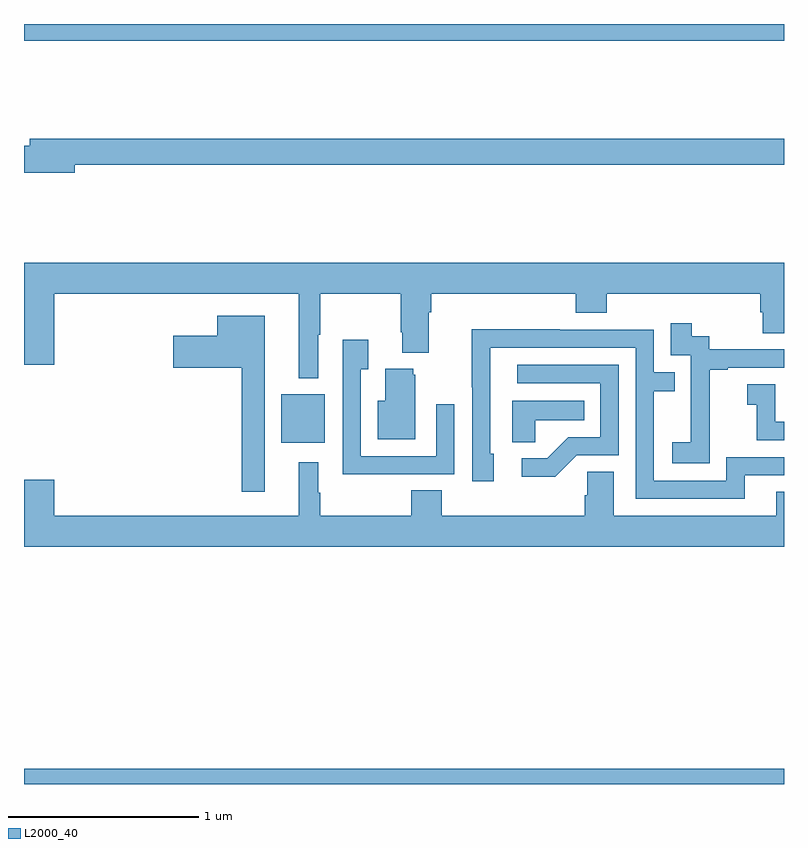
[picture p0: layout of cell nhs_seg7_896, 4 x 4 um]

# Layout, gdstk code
import gdstk
lib = gdstk.Library(unit=1e-6, precision=1e-09)
def R(c, l, rs):  # rectangles x0, y0, x1, y1
    for r in rs: c.add(gdstk.rectangle(r[:2], r[2:], *l))
def P(c, l, *ps):  # polygons
    for p in ps: c.add(gdstk.Polygon(p, *l))
L2000_40 = (2000, 40)

nhs_seg7_896 = lib.new_cell('nhs_seg7_896')
R(nhs_seg7_896, L2000_40, [(177,1034,181,1034.08), (178.355,1035.797,178.582,1036.051), (177,1037.912,181,1038)])
P(nhs_seg7_896, L2000_40, [(177.268,1037.26),(181,1037.26),(181,1037.396),(177.029,1037.396),(177.029,1037.36),(177,1037.36),(177,1037.218),(177.268,1037.218)],
  [(178.549,1036.364),(178.559,1036.364),(178.559,1036.58),(178.984,1036.58),(178.984,1036.378),(178.991,1036.378),(178.991,1036.271),(179.131,1036.271),(179.131,1036.484),(179.144,1036.484),(179.144,1036.58),(179.903,1036.58),(179.903,1036.481),(180.068,1036.481),(180.068,1036.58),(180.875,1036.58),(180.875,1036.482),(180.887,1036.482),(180.887,1036.372),(181,1036.372),(181,1036.744),(177,1036.744),(177,1036.206),(177.16,1036.206),(177.16,1036.58),(178.445,1036.58),(178.445,1036.136),(178.549,1036.136)],
  [(178.267,1036.465),(178.016,1036.465),(178.016,1036.36),(177.786,1036.36),(177.786,1036.19),(178.146,1036.19),(178.146,1035.537),(178.267,1035.537)],
  [(180.609,1035.895),(180.608,1035.895),(180.608,1036.179),(180.703,1036.179),(180.703,1036.191),(181,1036.191),(181,1036.287),(180.606,1036.287),(180.606,1036.356),(180.514,1036.356),(180.514,1036.426),(180.405,1036.426),(180.405,1036.257),(180.51,1036.257),(180.51,1036.028),(180.509,1036.028),(180.509,1035.799),(180.411,1035.799),(180.411,1035.689),(180.609,1035.689)],
  [(180.793,1035.624),(181,1035.624),(181,1035.72),(180.696,1035.72),(180.696,1035.597),(180.315,1035.597),(180.315,1036.066),(180.425,1036.066),(180.425,1036.167),(180.315,1036.167),(180.315,1036.392),(179.819,1036.392),(179.819,1036.394),(179.356,1036.394),(179.356,1036.087),(179.358,1036.087),(179.358,1035.594),(179.473,1035.594),(179.473,1035.738),(179.454,1035.738),(179.454,1036.296),(180.219,1036.296),(180.219,1035.501),(180.793,1035.501)],
  [(178.949,1035.63),(179.265,1035.63),(179.265,1036),(179.169,1036),(179.169,1035.726),(178.773,1035.726),(178.773,1036.183),(178.813,1036.183),(178.813,1036.339),(178.677,1036.339),(178.677,1035.629),(178.949,1035.629)],
  [(179.91,1035.729),(180.129,1035.729),(180.129,1036.206),(179.595,1036.206),(179.595,1036.11),(180.033,1036.11),(180.033,1035.825),(179.864,1035.825),(179.753,1035.714),(179.619,1035.714),(179.619,1035.617),(179.797,1035.617)],
  [(179.059,1036.155),(179.048,1036.155),(179.048,1036.186),(178.901,1036.186),(178.901,1036.018),(178.862,1036.018),(178.862,1035.815),(179.059,1035.815)],
  [(181,1035.906),(180.954,1035.906),(180.954,1036.105),(180.807,1036.105),(180.807,1035.995),(180.856,1035.995),(180.856,1035.81),(181,1035.81)],
  [(179.691,1035.914),(179.948,1035.914),(179.948,1036.018),(179.57,1036.018),(179.57,1035.799),(179.691,1035.799)],
  [(181,1035.539),(180.959,1035.539),(180.959,1035.412),(180.103,1035.412),(180.103,1035.644),(179.964,1035.644),(179.964,1035.521),(179.951,1035.521),(179.951,1035.412),(179.198,1035.412),(179.198,1035.545),(179.038,1035.545),(179.038,1035.412),(178.559,1035.412),(178.559,1035.533),(178.549,1035.533),(178.549,1035.694),(178.445,1035.694),(178.445,1035.412),(177.16,1035.412),(177.16,1035.601),(177,1035.601),(177,1035.248),(181,1035.248)])

lib.write_gds('nhs_seg7_896.gds')
